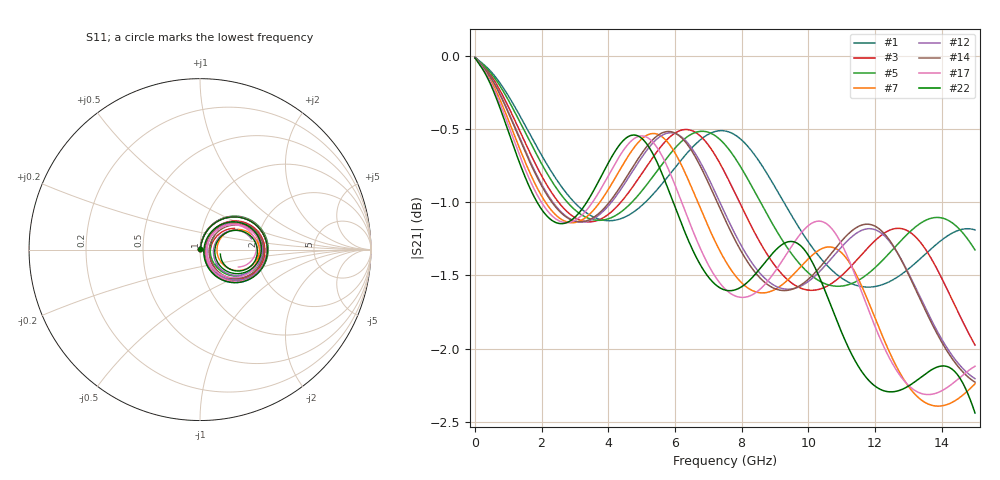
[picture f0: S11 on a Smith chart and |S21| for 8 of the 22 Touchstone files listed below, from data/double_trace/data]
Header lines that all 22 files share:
! Created with skrf 1.8.0 (http://scikit-rf.org).
# GHz S RI R 50.0
!freq ReS11 ImS11 ReS12 ImS12 ReS13 ImS13
! ReS14 ImS14
! ReS21 ImS21 ReS22 ImS22 ReS23 ImS23
! ReS24 ImS24
! ReS31 ImS31 ReS32 ImS32 ReS33 ImS33
! ReS34 ImS34
! ReS41 ImS41 ReS42 ImS42 ReS43 ImS43
! ReS44 ImS44
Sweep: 5 MHz to 15 GHz
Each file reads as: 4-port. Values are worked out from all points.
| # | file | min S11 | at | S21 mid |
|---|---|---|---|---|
| 1 | 2.s4p | -56.9 dB | 5 MHz | -0.5 dB at 7.19 GHz |
| 2 | 4.s4p | -52.7 dB | 5 MHz | -1.6 dB at 7.19 GHz |
| 3 | 6.s4p | -55.5 dB | 5 MHz | -0.7 dB at 7.19 GHz |
| 4 | 10.s4p | -53.8 dB | 5 MHz | -1.4 dB at 7.19 GHz |
| 5 | 12.s4p | -56.2 dB | 5 MHz | -0.5 dB at 7.19 GHz |
| 6 | 13.s4p | -55.1 dB | 5 MHz | -0.8 dB at 7.19 GHz |
| 7 | 14.s4p | -54.1 dB | 5 MHz | -1.3 dB at 7.19 GHz |
| 8 | 16.s4p | -52.9 dB | 5 MHz | -1.6 dB at 7.19 GHz |
| 9 | 17.s4p | -55.5 dB | 5 MHz | -0.7 dB at 7.19 GHz |
| 10 | 18.s4p | -54.0 dB | 5 MHz | -1.2 dB at 7.19 GHz |
| 11 | 21.s4p | -52.9 dB | 5 MHz | -1.6 dB at 7.19 GHz |
| 12 | 27.s4p | -54.9 dB | 5 MHz | -0.9 dB at 7.19 GHz |
| 13 | 28.s4p | -53.4 dB | 5 MHz | -1.5 dB at 7.19 GHz |
| 14 | 29.s4p | -54.8 dB | 5 MHz | -1.0 dB at 7.19 GHz |
| 15 | 31.s4p | -53.4 dB | 5 MHz | -1.5 dB at 7.19 GHz |
| 16 | 33.s4p | -56.6 dB | 5 MHz | -0.5 dB at 7.19 GHz |
| 17 | 35.s4p | -53.6 dB | 5 MHz | -1.5 dB at 7.19 GHz |
| 18 | 36.s4p | -54.8 dB | 5 MHz | -1.0 dB at 7.19 GHz |
| 19 | 37.s4p | -54.0 dB | 5 MHz | -1.3 dB at 7.19 GHz |
| 20 | 38.s4p | -51.3 dB | 5 MHz | -1.4 dB at 7.19 GHz |
| 21 | 39.s4p | -53.4 dB | 5 MHz | -1.5 dB at 7.19 GHz |
| 22 | 40.s4p | -53.1 dB | 5 MHz | -1.6 dB at 7.19 GHz |
